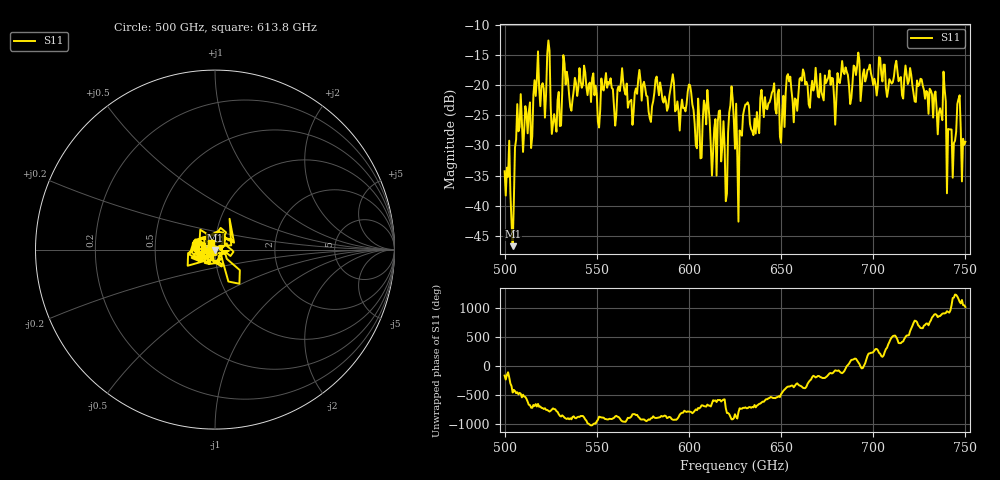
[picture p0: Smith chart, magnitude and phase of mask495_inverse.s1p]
!Created with skrf (http://scikit-rf.org).
# GHz S MA R 50.0
!freq magS11 angS11
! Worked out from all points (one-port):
!   401 points, 500 GHz to 750 GHz, reference 50 ohm
!   lowest |S11| = -46.7 dB at 504.4 GHz (marker M1), VSWR 1.01, Z = 49.9 - j0.459 ohm
!   |S11| at or under -10 dB: start of sweep to end of sweep
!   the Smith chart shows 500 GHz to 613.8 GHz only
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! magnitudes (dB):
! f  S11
! 500 GHz  -34.3
! 504.4 GHz  -46.7
! 508.1 GHz  -26.9
! 513.8 GHz  -22.9
! 516.9 GHz  -21.8
! 520.6 GHz  -19.7
! 523.8 GHz  -12.6
! 526.9 GHz  -24.8
! 531.2 GHz  -21.3
! 562.5 GHz  -21.0
! 579.4 GHz  -26.1
! 590.6 GHz  -19.5
! 593.8 GHz  -22.7
! 600.6 GHz  -20.0
! 605.6 GHz  -25.7
! 609.4 GHz  -26.5
! 619.4 GHz  -30.4
! 622.5 GHz  -23.3
! 625 GHz  -30.5
! 627.5 GHz  -27.5
! 631.2 GHz  -23.2
! 635 GHz  -28.3
! 656.2 GHz  -22.6
! 687.5 GHz  -23.2
! 691.2 GHz  -16.9
! 718.8 GHz  -19.8
! 746.2 GHz  -22.3
! 750 GHz  -29.4
